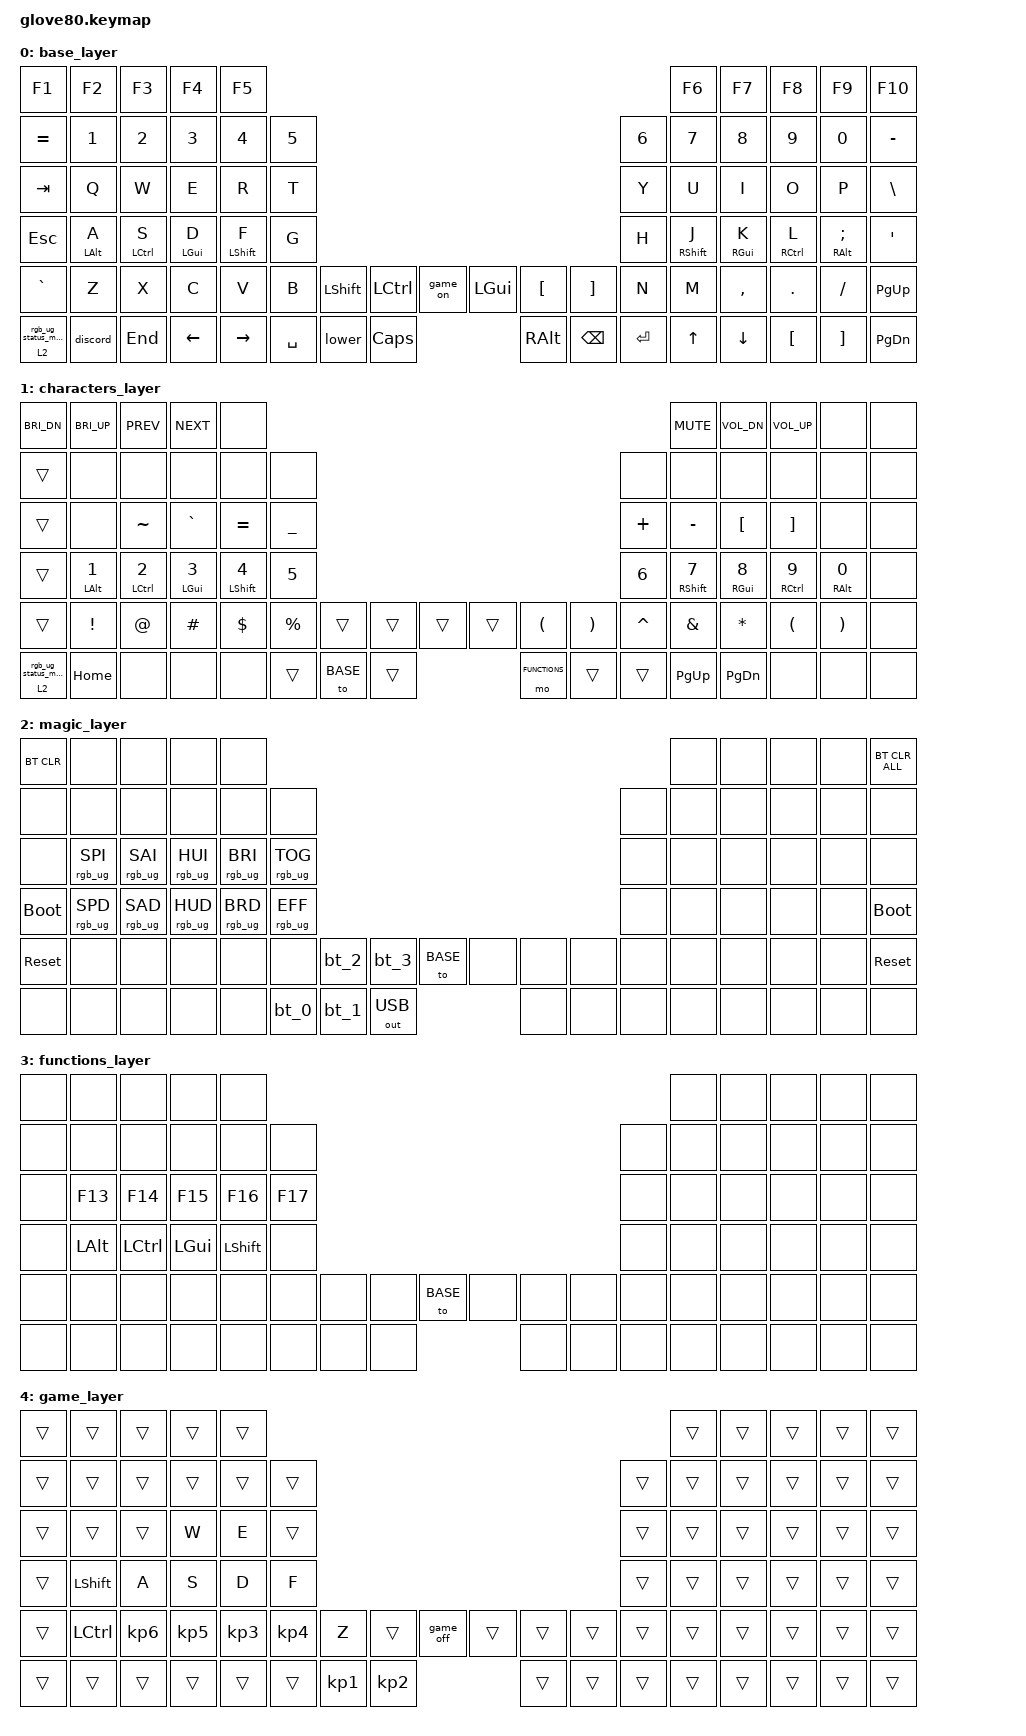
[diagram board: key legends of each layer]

/*
 * Copyright (c) 2020 The ZMK Contributors
 * Copyright (c) 2022 Innaworks Development Limited, trading as MoErgo
 *
 * SPDX-License-Identifier: MIT
 */


#include <behaviors.dtsi>
/* Include all behaviour includes needed by system behaviors/macros */
#include <dt-bindings/zmk/outputs.h>

/* Include behaviour includes needed by key binds - automatically generated */
#include <dt-bindings/zmk/keys.h>
#include <dt-bindings/zmk/bt.h>
#include <dt-bindings/zmk/rgb.h>
#include <dt-bindings/zmk/outputs.h>
#include <dt-bindings/zmk/ext_power.h>

#define HYPER LC(LS(LG(LALT)))

/* Glove80 key positions, used so a home row mod only becomes a hold on opposite-hand and thumb keys. */
#define LEFT_HAND_KEYS 0 1 2 3 4 10 11 12 13 14 15 22 23 24 25 26 27 34 35 36 37 38 39 46 47 48 49 50 51 64 65 66 67 68
#define RIGHT_HAND_KEYS 5 6 7 8 9 16 17 18 19 20 21 28 29 30 31 32 33 40 41 42 43 44 45 58 59 60 61 62 63 75 76 77 78 79
#define THUMB_KEYS 52 53 54 55 56 57 69 70 71 72 73 74

/ {
    /* Glove80 system behavior & macros */
    behaviors {
        // Hold for the characters layer. Double tap for caps word.
        lower: tap_dance_0 {
            compatible = "zmk,behavior-tap-dance";
            #binding-cells = <0>;
            tapping-term-ms = <200>;
            bindings = <&mo 1>, <&caps_word>;
        };
        hml: homerow_mods_left {
            compatible = "zmk,behavior-hold-tap";
            #binding-cells = <2>;
            flavor = "balanced";
            tapping-term-ms = <280>;
            quick-tap-ms = <175>;
            require-prior-idle-ms = <150>;
            hold-trigger-key-positions = <RIGHT_HAND_KEYS THUMB_KEYS>;
            hold-trigger-on-release;
            bindings = <&kp>, <&kp>;
        };
        hmr: homerow_mods_right {
            compatible = "zmk,behavior-hold-tap";
            #binding-cells = <2>;
            flavor = "balanced";
            tapping-term-ms = <280>;
            quick-tap-ms = <175>;
            require-prior-idle-ms = <150>;
            hold-trigger-key-positions = <LEFT_HAND_KEYS THUMB_KEYS>;
            hold-trigger-on-release;
            bindings = <&kp>, <&kp>;
        };
        // Discord voice key. Bind these in Discord under Settings, Keybinds:
        // F18 is Toggle Mute, F19 is Toggle Deafen, F20 is Push to Mute.
        discord_hold: discord_hold {
            compatible = "zmk,behavior-hold-tap";
            #binding-cells = <2>;
            flavor = "tap-preferred";
            tapping-term-ms = <200>;
            bindings = <&kp>, <&kp>;
        };
        discord: discord {
            compatible = "zmk,behavior-tap-dance";
            #binding-cells = <0>;
            tapping-term-ms = <200>;
            bindings = <&discord_hold F20 F18>, <&kp F19>;
        };
    };
};

/ {
    macros {
        rgb_ug_status_macro: rgb_ug_status_macro_0 {
            compatible = "zmk,behavior-macro";
            #binding-cells = <0>;
            bindings
                = <&rgb_ug RGB_STATUS>;
        };

        game_on: game_on {
            compatible = "zmk,behavior-macro";
            #binding-cells = <0>;
            bindings
                = <&rgb_ug RGB_ON>,
                  <&rgb_ug RGB_COLOR_HSB(360,78,63)>,
                  <&to 4>;
        };

        game_off: game_off {
            compatible = "zmk,behavior-macro";
            #binding-cells = <0>;
            bindings
                = <&rgb_ug RGB_OFF>,
                  <&to 0>;
        };

        bt_0: bt_profile_macro_0 {
            compatible = "zmk,behavior-macro";
            #binding-cells = <0>;
            bindings
                = <&out OUT_BLE>,
                  <&bt BT_SEL 0>;
        };

        bt_1: bt_profile_macro_1 {
            compatible = "zmk,behavior-macro";
            #binding-cells = <0>;
            bindings
                = <&out OUT_BLE>,
                  <&bt BT_SEL 1>;
        };

        bt_2: bt_profile_macro_2 {
            compatible = "zmk,behavior-macro";
            #binding-cells = <0>;
            bindings
                = <&out OUT_BLE>,
                  <&bt BT_SEL 2>;
        };

        bt_3: bt_profile_macro_3 {
            compatible = "zmk,behavior-macro";
            #binding-cells = <0>;
            bindings
                = <&out OUT_BLE>,
                  <&bt BT_SEL 3>;
        };
    };
};

/ {
    magic: magic_hold_tap {
        compatible = "zmk,behavior-hold-tap";
        #binding-cells = <2>;
        flavor = "tap-preferred";
        tapping-term-ms = <200>;
        bindings = <&mo>, <&rgb_ug_status_macro>;
    };
};

    /* Custom Defined Behaviors */
/ {
    
};


#define BASE 0
#define CHARACTERS 1
#define MAGIC 2
#define FUNCTIONS 3
#define GAME 4

    /* Automatically generated keymap */
/ {
    keymap {
        compatible = "zmk,keymap";


        base_layer {
            bindings = <
     &kp F1     &kp F2      &kp F3      &kp F4          &kp F5                                                                                  &kp F6     &kp F7    &kp F8    &kp F9    &kp F10
  &kp EQUAL     &kp N1      &kp N2      &kp N3          &kp N4          &kp N5                                                                  &kp N6  &kp N7     &kp N8    &kp N9    &kp N0  &kp MINUS
    &kp TAB     &kp Q       &kp W       &kp E           &kp R           &kp T                                                                   &kp Y   &kp U      &kp I     &kp O     &kp P   &kp BSLH
    &kp ESC     &hml LALT A &hml LCTRL S &hml LGUI D    &hml LSHIFT F   &kp G                                                                   &kp H   &hmr RSHIFT J   &hmr RGUI K &hmr RCTRL L  &hmr RALT SEMI    &kp SQT
  &kp GRAVE     &kp Z       &kp X       &kp C           &kp V           &kp B   &kp LSHFT   &kp LCTRL   &game_on      &kp LGUI    &kp LBKT   &kp RBKT   &kp N   &kp M  &kp COMMA   &kp DOT  &kp FSLH  &kp PG_UP
 &magic 2 0     &discord    &kp END     &kp LEFT        &kp RIGHT               &kp SPACE   &lower      &kp CAPS    &kp RALT    &kp BSPC    &kp RET          &kp UP   &kp DOWN  &kp LBKT  &kp RBKT  &kp PG_DN
            >;
        };

                characters_layer {
            bindings = <
 &kp C_BRI_DN  &kp C_BRI_UP  &kp C_PREV  &kp C_NEXT   &none                                                                     &kp C_MUTE  &kp C_VOL_DN  &kp C_VOL_UP   &none   &none
       &trans         &none       &none       &none   &none   &none                                                      &none       &none         &none         &none   &none   &none
       &trans         &none   &kp TILDE   &kp GRAVE  &kp EQUAL  &kp UNDER                                                   &kp PLUS   &kp MINUS      &kp LBKT      &kp RBKT     &none   &none
       &trans   &hml LALT N1    &hml LCTRL N2   &hml LGUI N3  &hml LSHIFT N4  &kp N5                                  &kp N6      &hmr RSHIFT N7  &hmr RGUI N8   &hmr RCTRL N9  &hmr RALT N0   &none
       &trans      &kp EXCL      &kp AT    &kp HASH   &kp DLLR  &kp PRCNT  &trans  &trans  &trans  &trans  &kp LPAR  &kp RPAR  &kp CARET    &kp AMPS      &kp STAR      &kp LPAR  &kp RPAR   &none
   &magic 2 0         &kp HOME       &none       &none   &none          &trans   &to BASE  &trans  &mo FUNCTIONS   &trans  &trans         &kp PG_UP   &kp PG_DN         &none   &none   &none
            >;
        };


        magic_layer {
            bindings = <
  &bt BT_CLR            &none            &none            &none            &none                                                                                  &none   &none   &none   &none  &bt BT_CLR_ALL
       &none            &none            &none            &none            &none            &none                                                         &none   &none   &none   &none   &none           &none
       &none  &rgb_ug RGB_SPI  &rgb_ug RGB_SAI  &rgb_ug RGB_HUI  &rgb_ug RGB_BRI  &rgb_ug RGB_TOG                                                         &none   &none   &none   &none   &none           &none
 &bootloader  &rgb_ug RGB_SPD  &rgb_ug RGB_SAD  &rgb_ug RGB_HUD  &rgb_ug RGB_BRD  &rgb_ug RGB_EFF                                                         &none   &none   &none   &none   &none     &bootloader
      &sys_reset            &none            &none            &none            &none            &none   &bt_2   &bt_3   &to BASE   &none   &none   &none   &none   &none   &none   &none   &none          &sys_reset
       &none            &none            &none            &none            &none                    &bt_0   &bt_1  &out OUT_USB   &none   &none   &none           &none   &none   &none   &none           &none
            >;
        };

        functions_layer {
            bindings = <
 &none    &none    &none     &none     &none                                                                      &none  &none     &none  &none  &none
 &none    &none    &none     &none     &none  &none                                                    &none    &none  &none     &none  &none  &none
 &none    &kp F13  &kp F14   &kp F15   &kp F16 &kp F17                                                  &none    &none  &none     &none  &none  &none
 &none    &kp LALT  &kp LCTRL &kp LGUI &kp LSHIFT  &none                                                &none    &none  &none &none  &none  &none
 &none    &none    &none     &none     &none  &none  &none  &none  &to BASE  &none  &none  &none        &none    &none  &none     &none  &none  &none
 &none    &none    &none     &none     &none          &none   &none  &none &none   &none  &none                 &none  &none     &none  &none  &none
            >;
        };

        game_layer {
            bindings = <
 &trans     &trans  &trans  &trans  &trans                                                                  &trans  &trans  &trans  &trans  &trans
 &trans     &trans  &trans  &trans  &trans  &trans                                                  &trans  &trans  &trans  &trans  &trans  &trans
 &trans     &trans  &trans   &kp W  &kp E  &trans                                                  &trans  &trans  &trans  &trans  &trans  &trans
 &trans  &kp LSHIFT   &kp A   &kp S   &kp D  &kp F                                                  &trans  &trans  &trans  &trans  &trans  &trans
 &trans     &kp LCTRL &kp KP_N6  &kp KP_N5  &kp KP_N3  &kp KP_N4  &kp Z  &trans   &game_off  &trans  &trans  &trans  &trans  &trans  &trans  &trans  &trans  &trans
 &trans     &trans  &trans  &trans  &trans          &trans   &kp KP_N1  &kp KP_N2  &trans  &trans  &trans          &trans  &trans  &trans  &trans  &trans
            >;
        };


    };
};
